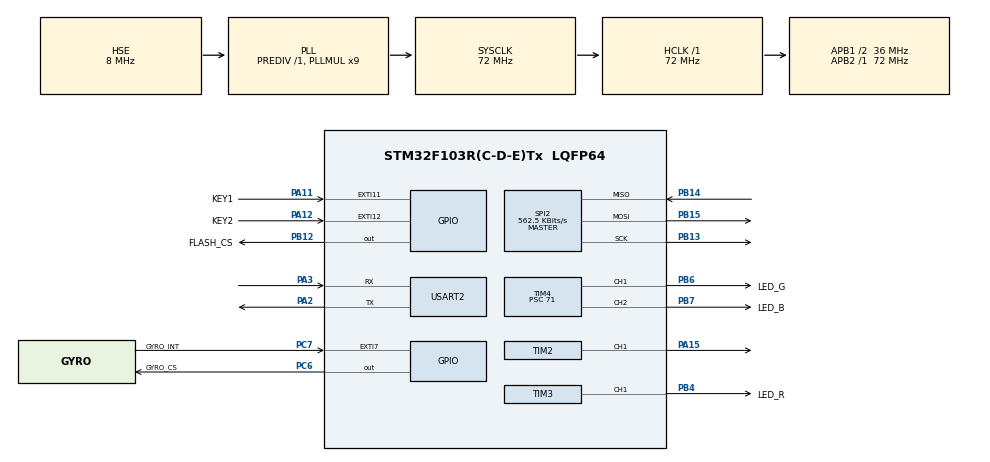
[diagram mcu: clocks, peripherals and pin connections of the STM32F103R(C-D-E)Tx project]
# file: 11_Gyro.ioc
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Mcu.Family=STM32F1
Mcu.Name=STM32F103R(C-D-E)Tx
Mcu.Package=LQFP64
NVIC.PriorityGroup=NVIC_PRIORITYGROUP_4
NVIC.USART2_IRQn=true\:0\:0\:false\:false\:true\:true\:true\:true
PA11.GPIO_Label=KEY1
PA11.GPIO_ModeDefaultEXTI=GPIO_MODE_IT_RISING_FALLING
PA11.GPIO_PuPd=GPIO_PULLUP
PA11.Signal=GPXTI11
PA12.GPIO_Label=KEY2
PA12.GPIO_ModeDefaultEXTI=GPIO_MODE_IT_RISING_FALLING
PA12.GPIO_PuPd=GPIO_PULLUP
PA12.Signal=GPXTI12
PA13.Mode=Serial_Wire
PA13.Signal=SYS_JTMS-SWDIO
PA14.Mode=Serial_Wire
PA14.Signal=SYS_JTCK-SWCLK
PA15.GPIO_Speed=GPIO_SPEED_FREQ_HIGH
PA15.Signal=S_TIM2_CH1_ETR
PA2.Mode=Asynchronous
PA2.Signal=USART2_TX
PA3.Mode=Asynchronous
PA3.Signal=USART2_RX
PB12.GPIO_Label=FLASH_CS
PB12.GPIO_PuPd=GPIO_PULLUP
PB12.GPIO_Speed=GPIO_SPEED_FREQ_HIGH
PB12.PinState=GPIO_PIN_SET
PB12.Signal=GPIO_Output
PB13.Mode=Full_Duplex_Master
PB13.Signal=SPI2_SCK
PB14.Mode=Full_Duplex_Master
PB14.Signal=SPI2_MISO
PB15.Mode=Full_Duplex_Master
PB15.Signal=SPI2_MOSI
PB4.GPIO_Label=LED_R
PB4.GPIO_Speed=GPIO_SPEED_FREQ_HIGH
PB4.Signal=S_TIM3_CH1
PB6.GPIO_Label=LED_G
PB6.GPIO_Speed=GPIO_SPEED_FREQ_HIGH
PB6.Signal=S_TIM4_CH1
PB7.GPIO_Label=LED_B
PB7.GPIO_Speed=GPIO_SPEED_FREQ_HIGH
PB7.Signal=S_TIM4_CH2
PC6.GPIO_Label=GYRO_CS
PC6.GPIO_PuPd=GPIO_PULLUP
PC6.GPIO_Speed=GPIO_SPEED_FREQ_HIGH
PC6.PinState=GPIO_PIN_SET
PC6.Signal=GPIO_Output
PC7.GPIO_Label=GYRO_INT
PC7.GPIO_PuPd=GPIO_PULLUP
PC7.Signal=GPXTI7
PD0-OSC_IN.Mode=HSE-External-Oscillator
PD0-OSC_IN.Signal=RCC_OSC_IN
PD1-OSC_OUT.Mode=HSE-External-Oscillator
PD1-OSC_OUT.Signal=RCC_OSC_OUT
ProjectManager.HeapSize=0x200
ProjectManager.StackSize=0x400
ProjectManager.TargetToolchain=MDK-ARM V5.32
RCC.AHBFreq_Value=72000000
RCC.APB1CLKDivider=RCC_HCLK_DIV2
RCC.APB1Freq_Value=36000000
RCC.APB1TimFreq_Value=72000000
RCC.APB2Freq_Value=72000000
RCC.APB2TimFreq_Value=72000000
RCC.HCLKFreq_Value=72000000
RCC.PLLMUL=RCC_PLL_MUL9
RCC.PLLSourceVirtual=RCC_PLLSOURCE_HSE
RCC.SYSCLKFreq_VALUE=72000000
RCC.SYSCLKSource=RCC_SYSCLKSOURCE_PLLCLK
RCC.USBFreq_Value=72000000
SH.S_TIM2_CH1_ETR.0=TIM2_CH1,PWM Generation1 CH1
SH.S_TIM3_CH1.0=TIM3_CH1,PWM Generation1 CH1
SH.S_TIM4_CH1.0=TIM4_CH1,PWM Generation1 CH1
SH.S_TIM4_CH2.0=TIM4_CH2,PWM Generation2 CH2
SPI2.BaudRatePrescaler=SPI_BAUDRATEPRESCALER_64
SPI2.CLKPhase=SPI_PHASE_2EDGE
SPI2.CLKPolarity=SPI_POLARITY_HIGH
SPI2.CalculateBaudRate=562.5 KBits/s
SPI2.Direction=SPI_DIRECTION_2LINES
SPI2.Mode=SPI_MODE_MASTER
SPI2.VirtualType=VM_MASTER
TIM1.AutoReloadPreload=TIM_AUTORELOAD_PRELOAD_ENABLE
TIM1.Period=9999
TIM1.Prescaler=71
TIM2.Channel-PWM\ Generation1\ CH1=TIM_CHANNEL_1
TIM2.OCPolarity_1=TIM_OCPOLARITY_LOW
TIM2.Period=99
TIM2.Prescaler=71
TIM3.AutoReloadPreload=TIM_AUTORELOAD_PRELOAD_ENABLE
TIM3.Channel-PWM\ Generation1\ CH1=TIM_CHANNEL_1
TIM3.OCPolarity_1=TIM_OCPOLARITY_LOW
TIM3.Period=4999
TIM3.Prescaler=71
TIM4.AutoReloadPreload=TIM_AUTORELOAD_PRELOAD_ENABLE
TIM4.Channel-PWM\ Generation1\ CH1=TIM_CHANNEL_1
TIM4.Channel-PWM\ Generation2\ CH2=TIM_CHANNEL_2
TIM4.OCPolarity_1=TIM_OCPOLARITY_LOW
TIM4.OCPolarity_2=TIM_OCPOLARITY_LOW
TIM4.Period=4999
TIM4.Prescaler=71
USART2.VirtualMode=VM_ASYNC
VP_TIM1_VS_ClockSourceINT.Mode=Internal
VP_TIM2_VS_ClockSourceINT.Mode=Internal
VP_TIM3_VS_ClockSourceINT.Mode=Internal
VP_TIM4_VS_ClockSourceINT.Mode=Internal
board=custom

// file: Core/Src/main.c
/* USER CODE BEGIN Header */
/**
 ******************************************************************************
 * @file           : main.c
 * @brief          : Main program body
 ******************************************************************************
 * @attention
 *
 * Copyright (c) 2026 STMicroelectronics.
 * All rights reserved.
 *
 * This software is licensed under terms that can be found in the LICENSE file
 * in the root directory of this software component.
 * If no LICENSE file comes with this software, it is provided AS-IS.
 *
 ******************************************************************************
 */
/* USER CODE END Header */
#include "main.h"
#include "spi.h"
#include "tim.h"
#include "usart.h"
#include "gpio.h"

/* USER CODE BEGIN Includes */
#include "sLog.h"
/* USER CODE END Includes */

/* USER CODE BEGIN PD */
#define MPU_GYRO_CFG_REG 0x1B    // 陀螺仪配置
#define MPU_ACCEL_CFG_REG 0x1C   // 加速度计配置
#define MPU_ACCEL_CFG2_REG 0x1D  // 加速度计配置2
#define MPU_CFG_REG 0x1A         // 配置寄存器
#define MPU_SAMPLE_RATE_REG 0x19 // 采样率分频器

#define MPU_PWR_MGMT1_REG 0x6B // 电源管理1
#define MPU_PWR_MGMT2_REG 0x6C // 电源管理2
#define MPU_USER_CTRL_REG 0x6A // 用户控制
#define MPU_DEVICE_ID_REG 0x75 // 器件ID寄存器

#define MPU_SIGPATH_RST_REG 0X68 // 信号通道复位寄存器

#define MPU_INT_STA_REG 0X3A // 中断状态寄存器

#define MPU_ACCEL_XOUTH_REG 0X3B // 加速度值,X轴高8位寄存器
#define MPU_ACCEL_XOUTL_REG 0X3C // 加速度值,X轴低8位寄存器
#define MPU_ACCEL_YOUTH_REG 0X3D // 加速度值,Y轴高8位寄存器
#define MPU_ACCEL_YOUTL_REG 0X3E // 加速度值,Y轴低8位寄存器
#define MPU_ACCEL_ZOUTH_REG 0X3F // 加速度值,Z轴高8位寄存器
#define MPU_ACCEL_ZOUTL_REG 0X40 // 加速度值,Z轴低8位寄存器

#define MPU_TEMP_OUTH_REG 0X41 // 温度值高八位寄存器
#define MPU_TEMP_OUTL_REG 0X42 // 温度值低8位寄存器

#define MPU_GYRO_XOUTH_REG 0X43 // 陀螺仪值,X轴高8位寄存器
#define MPU_GYRO_XOUTL_REG 0X44 // 陀螺仪值,X轴低8位寄存器
#define MPU_GYRO_YOUTH_REG 0X45 // 陀螺仪值,Y轴高8位寄存器
#define MPU_GYRO_YOUTL_REG 0X46 // 陀螺仪值,Y轴低8位寄存器
#define MPU_GYRO_ZOUTH_REG 0X47 // 陀螺仪值,Z轴高8位寄存器
#define MPU_GYRO_ZOUTL_REG 0X48 // 陀螺仪值,Z轴低8位寄存器

/* USER CODE END PD */

/* USER CODE BEGIN PV */
int16_t ACC_DATA[7];
uint8_t mpu_tx, mpu_rx; // 用于数据的发送交换
/* USER CODE END PV */

void SystemClock_Config(void);

/* USER CODE BEGIN 0 */

// spi write a byte
uint8_t mpu6500_Write_Byte(uint8_t reg, uint8_t data)
{
  HAL_GPIO_WritePin(GYRO_CS_GPIO_Port, GYRO_CS_Pin, GPIO_PIN_RESET);
  mpu_tx = reg & 0x7F;                                      // 使第一位为0，写模式
  HAL_SPI_TransmitReceive(&hspi2, &mpu_tx, &mpu_rx, 1, 55); // 写入命令地址
  mpu_tx = data;
  HAL_SPI_TransmitReceive(&hspi2, &mpu_tx, &mpu_rx, 1, 55); // 写入数据
  HAL_GPIO_WritePin(GYRO_CS_GPIO_Port, GYRO_CS_Pin, GPIO_PIN_SET);
  return 0;
}

// spi read a byte
uint8_t mpu6500_Read_Byte(uint8_t reg)
{
  HAL_GPIO_WritePin(GYRO_CS_GPIO_Port, GYRO_CS_Pin, GPIO_PIN_RESET);
  mpu_tx = reg | 0x80;                                      // 使第一位为1，读模式
  HAL_SPI_TransmitReceive(&hspi2, &mpu_tx, &mpu_rx, 1, 55); // 写入读取地址
  HAL_SPI_TransmitReceive(&hspi2, &mpu_tx, &mpu_rx, 1, 55); // 为读取的数据提供存储
  HAL_GPIO_WritePin(GYRO_CS_GPIO_Port, GYRO_CS_Pin, GPIO_PIN_SET);
  return mpu_rx;
}

// 设置MPU6050陀螺仪传感器满量程范围
// fsr:0,±250dps;1,±500dps;2,±1000dps;3,±2000dps
// 返回值:0,设置成功
//     其他,设置失败
uint8_t MPU_Set_Gyro_Fsr(uint8_t fsr)
{
  return mpu6500_Write_Byte(MPU_GYRO_CFG_REG, fsr << 3); // 设置陀螺仪满量程范围
}
// 设置MPU6050加速度传感器满量程范围
// fsr:0,±2g;1,±4g;2,±8g;3,±16g
// 返回值:0,设置成功
//     其他,设置失败
uint8_t MPU_Set_Accel_Fsr(uint8_t fsr)
{
  return mpu6500_Write_Byte(MPU_ACCEL_CFG_REG, fsr << 3); // 设置加速度传感器满量程范围
}
// 设置MPU6050的数字低通滤波器
// lpf:数字低通滤波频率(Hz)
// 返回值:0,设置成功
//     其他,设置失败
uint8_t MPU_Set_LPF(uint16_t lpf)
{
  uint8_t data = 0;
  if (lpf >= 188)
    data = 1;
  else if (lpf >= 98)
    data = 2;
  else if (lpf >= 42)
    data = 3;
  else if (lpf >= 20)
    data = 4;
  else if (lpf >= 10)
    data = 5;
  else
    data = 6;
  return mpu6500_Write_Byte(MPU_CFG_REG, data); // 设置数字低通滤波器
}
// 设置MPU6050的采样率(假定Fs=1KHz)
// rate:4~1000(Hz)
// 返回值:0,设置成功
//     其他,设置失败
uint8_t MPU_Set_Rate(uint16_t rate)
{
  uint8_t data;
  if (rate > 1000)
    rate = 1000; // 最大1khz采样率
  if (rate < 4)
    rate = 4;
  data = 1000 / rate - 1;                               // 根据公式算出得
  data = mpu6500_Write_Byte(MPU_SAMPLE_RATE_REG, data); // 设置采样率
                                                        // return MPU_Set_LPF(rate/2);	//自动设置LPF为采样率的一半
  return 0;
}

// 同时读多个寄存器
// reg:起始寄存器地址
// len：读寄存器的总个数
//*buf：存储内存起始指针
uint8_t mpu6500_Read_Len(uint8_t reg, uint8_t len, uint8_t *buf)
{
  uint8_t tmp = 0;
  mpu_tx = reg | 0x80; // 使第一位为1，读模式
  HAL_GPIO_WritePin(GYRO_CS_GPIO_Port, GYRO_CS_Pin, GPIO_PIN_RESET);
  HAL_SPI_TransmitReceive(&hspi2, &mpu_tx, &mpu_rx, 1, 55); // 写入读取地址
  HAL_SPI_Receive(&hspi2, buf, len, HAL_MAX_DELAY);
  HAL_GPIO_WritePin(GYRO_CS_GPIO_Port, GYRO_CS_Pin, GPIO_PIN_SET);
  return tmp;
}

void Get_MPU6500_Accelerometer(int16_t *ax, int16_t *ay, int16_t *az)
{
  uint8_t BUF[6];
  BUF[0] = mpu6500_Read_Byte(MPU_ACCEL_XOUTL_REG);
  BUF[1] = mpu6500_Read_Byte(MPU_ACCEL_XOUTH_REG);
  *ax = ((uint16_t)BUF[1] << 8) | BUF[0];

  BUF[2] = mpu6500_Read_Byte(MPU_ACCEL_YOUTL_REG);
  BUF[3] = mpu6500_Read_Byte(MPU_ACCEL_YOUTH_REG);
  *ay = ((uint16_t)BUF[3] << 8) | BUF[2];

  BUF[4] = mpu6500_Read_Byte(MPU_ACCEL_ZOUTL_REG);
  BUF[5] = mpu6500_Read_Byte(MPU_ACCEL_ZOUTH_REG);
  *az = ((uint16_t)BUF[5] << 8) | BUF[4];
}

void Get_MPU6500_GYRO(int16_t *gx, int16_t *gy, int16_t *gz)
{
  uint8_t BUF[6];
  BUF[0] = mpu6500_Read_Byte(MPU_GYRO_XOUTL_REG);
  BUF[1] = mpu6500_Read_Byte(MPU_GYRO_XOUTH_REG);
  *gx = ((uint16_t)BUF[1] << 8) | BUF[0];

  BUF[2] = mpu6500_Read_Byte(MPU_GYRO_YOUTL_REG);
  BUF[3] = mpu6500_Read_Byte(MPU_GYRO_YOUTH_REG);
  *gy = ((uint16_t)BUF[3] << 8) | BUF[2];

  BUF[4] = mpu6500_Read_Byte(MPU_GYRO_ZOUTL_REG);
  BUF[5] = mpu6500_Read_Byte(MPU_GYRO_ZOUTH_REG);
  *gz = ((uint16_t)BUF[5] << 8) | BUF[4];
}

int16_t MPU_Get_Temperature(void)
{
  uint8_t BUF[2]; // 用于存放温度
  int16_t raw;
  float temp;
  BUF[0] = mpu6500_Read_Byte(MPU_TEMP_OUTL_REG);
  BUF[1] = mpu6500_Read_Byte(MPU_TEMP_OUTH_REG);
  raw = ((uint16_t)BUF[1] << 8) | BUF[0];    // 将8位数据整合为16位
  temp = 21 + ((double)(raw - 21)) / 333.87; // 读取计算出温度

  return temp * 100; // 为了好处理数据，这里扩大100倍
}

uint8_t MPU6500_Init(void)
{
  uint8_t res;

  mpu6500_Write_Byte(MPU_PWR_MGMT1_REG, 0X80);   // 复位mpu6500
  HAL_Delay(200);                                // see 《register map》page 42 - delay 100ms
  mpu6500_Write_Byte(MPU_SIGPATH_RST_REG, 0X07); // reset GYR+ACC+TEMP
  HAL_Delay(200);                                // page 42 - delay 100ms
  mpu6500_Write_Byte(MPU_USER_CTRL_REG, 0x11);   // SET spi mode+Reset all gyro digital signal path, accel digital signal path, and temp
  HAL_Delay(1000);

  res = mpu6500_Read_Byte(MPU_DEVICE_ID_REG);
  if (res == 0x70) // 器件ID正确
  {

    MPU_Set_Gyro_Fsr(2);  // 陀螺仪传感器,±250dps
    HAL_Delay(10);        // 每写一个寄存器注意延时！不然会有意想不到的错误lol --yulong
    MPU_Set_Accel_Fsr(2); // 加速度传感器,±2g
    HAL_Delay(10);
    mpu6500_Write_Byte(MPU_CFG_REG, 0X03); // gyr Fs=1khz,bandwidth=41hz
    HAL_Delay(10);
    mpu6500_Write_Byte(MPU_ACCEL_CFG2_REG, 0X03); // Acc Fs=1khz, bandtidth=41hz
    HAL_Delay(10);
    // mpu6500_Write_Byte(MPU_INTBP_CFG_REG,0XA0);	//INT引脚低电平有效,推完输出
    HAL_Delay(10);
    // mpu6500_Write_Byte(MPU_INT_EN_REG,0X01);	//raw data inter open
    HAL_Delay(10);
    // mpu6500_Write_Byte(MPU_PWR_MGMT1_REG,0X01);	//设置CLKSEL,PLL X轴为参考
    HAL_Delay(10);
    mpu6500_Write_Byte(MPU_PWR_MGMT2_REG, 0X00); // 加速度与陀螺仪都工作
    HAL_Delay(10);
    MPU_Set_Rate(200); // 设置采样率为200Hz
    HAL_Delay(10);
  }
  else
  {
    return 1; // 错误退出
  }
  // just for test --yulong 2017/9/20
  // loop all the time(send data to com)
  while (1)
  {
    uint8_t res;
    uint8_t raw_datas[14];
    res = mpu6500_Read_Byte(MPU_INT_STA_REG); // 默认读此寄存器能够清此标志位.故循环查询此寄存器即可
    // printf("int status:%x\n", res);
    HAL_Delay(1);
    if (res == 0x01) // 数据ready
    {
      mpu6500_Read_Len(MPU_ACCEL_XOUTH_REG, 8, &raw_datas[0]);
      //HAL_Delay(1);
      mpu6500_Read_Len(MPU_GYRO_XOUTH_REG, 6, &raw_datas[8]);
      //HAL_Delay(1);

      ACC_DATA[0] = ((uint16_t)raw_datas[0] << 8) | raw_datas[1]; // 三轴加速度
      ACC_DATA[1] = ((uint16_t)raw_datas[2] << 8) | raw_datas[3];
      ACC_DATA[2] = ((uint16_t)raw_datas[4] << 8) | raw_datas[5];
      ACC_DATA[3] = ((uint16_t)raw_datas[8] << 8) | raw_datas[9]; // 三轴角速度
      ACC_DATA[4] = ((uint16_t)raw_datas[10] << 8) | raw_datas[11];
      ACC_DATA[5] = ((uint16_t)raw_datas[12] << 8) | raw_datas[13];
      ACC_DATA[6] = ((uint16_t)raw_datas[6] << 8) | raw_datas[7]; // 温度数据
      sLog_print("%d,%d,%d,%d,%d,%d,%d\n", ACC_DATA[0], ACC_DATA[1], ACC_DATA[2], ACC_DATA[3], ACC_DATA[4], ACC_DATA[5], ACC_DATA[6]);
    }
  }
  return 0;
}

/* USER CODE END 0 */

int main(void)
{

  /* MCU Configuration--------------------------------------------------------*/

  /* Reset of all peripherals, Initializes the Flash interface and the Systick. */
  HAL_Init();

  /* Configure the system clock */
  SystemClock_Config();

  /* Initialize all configured peripherals */
  MX_GPIO_Init();
  MX_TIM1_Init();
  MX_TIM3_Init();
  MX_TIM4_Init();
  MX_TIM2_Init();
  MX_USART2_UART_Init();
  MX_SPI2_Init();
  /* USER CODE BEGIN 2 */
  sLog_init();
  HAL_Delay(500);
  MPU6500_Init();
  /* USER CODE END 2 */

  /* Infinite loop */
  while (1)
  {

  }
}

void SystemClock_Config(void)
{
  RCC_OscInitTypeDef RCC_OscInitStruct = {0};
  RCC_ClkInitTypeDef RCC_ClkInitStruct = {0};

  /** Initializes the RCC Oscillators according to the specified parameters
  * in the RCC_OscInitTypeDef structure.
  */
  RCC_OscInitStruct.OscillatorType = RCC_OSCILLATORTYPE_HSE;
  RCC_OscInitStruct.HSEState = RCC_HSE_ON;
  RCC_OscInitStruct.HSEPredivValue = RCC_HSE_PREDIV_DIV1;
  RCC_OscInitStruct.HSIState = RCC_HSI_ON;
  RCC_OscInitStruct.PLL.PLLState = RCC_PLL_ON;
  RCC_OscInitStruct.PLL.PLLSource = RCC_PLLSOURCE_HSE;
  RCC_OscInitStruct.PLL.PLLMUL = RCC_PLL_MUL9;
  if (HAL_RCC_OscConfig(&RCC_OscInitStruct) != HAL_OK)
  {
    Error_Handler();
  }

  /** Initializes the CPU, AHB and APB buses clocks
  */
  RCC_ClkInitStruct.ClockType = RCC_CLOCKTYPE_HCLK|RCC_CLOCKTYPE_SYSCLK
                              |RCC_CLOCKTYPE_PCLK1|RCC_CLOCKTYPE_PCLK2;
  RCC_ClkInitStruct.SYSCLKSource = RCC_SYSCLKSOURCE_PLLCLK;
  RCC_ClkInitStruct.AHBCLKDivider = RCC_SYSCLK_DIV1;
  RCC_ClkInitStruct.APB1CLKDivider = RCC_HCLK_DIV2;
  RCC_ClkInitStruct.APB2CLKDivider = RCC_HCLK_DIV1;

  if (HAL_RCC_ClockConfig(&RCC_ClkInitStruct, FLASH_LATENCY_2) != HAL_OK)
  {
    Error_Handler();
  }
}

void Error_Handler(void)
{
  __disable_irq();
  while (1)
  {
  }
}
